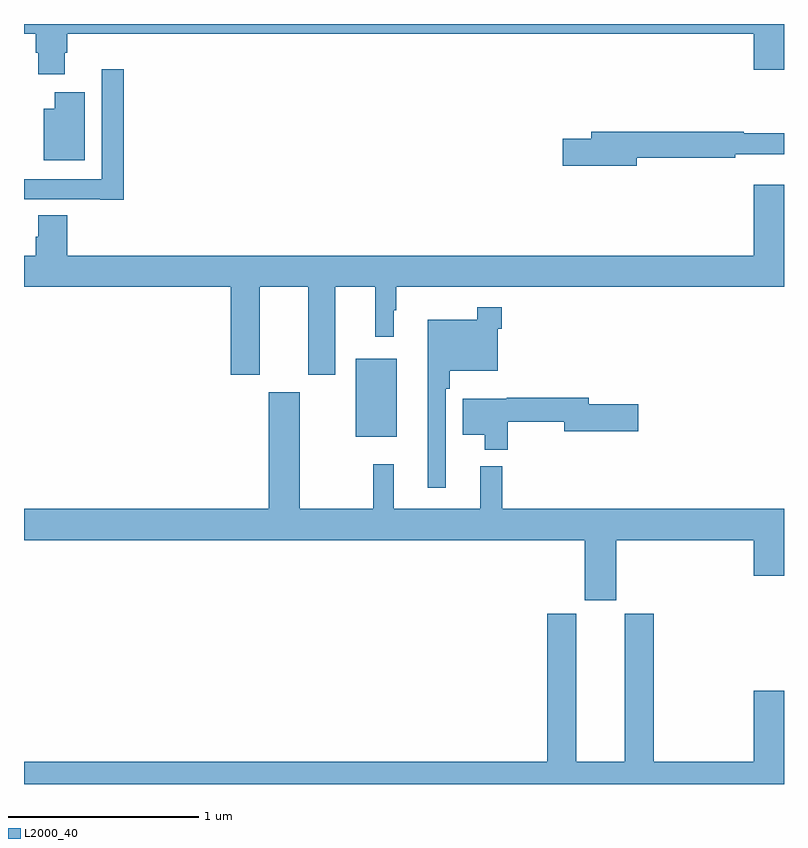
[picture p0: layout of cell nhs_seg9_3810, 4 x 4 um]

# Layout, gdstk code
import gdstk
lib = gdstk.Library(unit=1e-6, precision=1e-09)
def R(c, l, rs):  # rectangles x0, y0, x1, y1
    for r in rs: c.add(gdstk.rectangle(r[:2], r[2:], *l))
def P(c, l, *ps):  # polygons
    for p in ps: c.add(gdstk.Polygon(p, *l))
L2000_40 = (2000, 40)

nhs_seg9_3810 = lib.new_cell('nhs_seg9_3810')
R(nhs_seg9_3810, L2000_40, [(330.746,1166.327,330.961,1166.737)])
P(nhs_seg9_3810, L2000_40, [(329.215,1168.35),(329.228,1168.35),(329.228,1168.448),(332.84,1168.448),(332.84,1168.26),(333,1168.26),(333,1168.5),(329,1168.5),(329,1168.448),(329.063,1168.448),(329.063,1168.35),(329.075,1168.35),(329.075,1168.236),(329.215,1168.236)],
  [(329.525,1168.261),(329.409,1168.261),(329.409,1167.682),(329,1167.682),(329,1167.578),(329.402,1167.578),(329.402,1167.576),(329.525,1167.576)],
  [(329.32,1168.141),(329.162,1168.141),(329.162,1168.054),(329.105,1168.054),(329.105,1167.782),(329.32,1167.782)],
  [(332.224,1167.796),(332.744,1167.796),(332.744,1167.815),(333,1167.815),(333,1167.925),(332.789,1167.925),(332.789,1167.932),(331.985,1167.932),(331.985,1167.896),(331.836,1167.896),(331.836,1167.754),(332.224,1167.754)],
  [(330.241,1167.116),(330.497,1167.116),(330.497,1166.655),(330.637,1166.655),(330.637,1167.116),(330.848,1167.116),(330.848,1166.853),(330.946,1166.853),(330.946,1166.993),(330.958,1166.993),(330.958,1167.116),(333,1167.116),(333,1167.655),(332.84,1167.655),(332.84,1167.28),(329.228,1167.28),(329.228,1167.493),(329.075,1167.493),(329.075,1167.381),(329.063,1167.381),(329.063,1167.28),(329,1167.28),(329,1167.116),(330.089,1167.116),(330.089,1166.655),(330.241,1166.655)],
  [(331.221,1166.579),(331.241,1166.579),(331.241,1166.675),(331.494,1166.675),(331.494,1166.897),(331.514,1166.897),(331.514,1167.01),(331.386,1167.01),(331.386,1166.944),(331.124,1166.944),(331.124,1166.058),(331.221,1166.058)],
  [(332.116,1165.784),(332.84,1165.784),(332.84,1165.596),(333,1165.596),(333,1165.948),(331.517,1165.948),(331.517,1166.173),(331.4,1166.173),(331.4,1165.948),(330.947,1165.948),(330.947,1166.182),(330.837,1166.182),(330.837,1165.948),(330.451,1165.948),(330.451,1166.563),(330.287,1166.563),(330.287,1165.948),(329,1165.948),(329,1165.784),(331.952,1165.784),(331.952,1165.467),(332.116,1165.467)],
  [(331.546,1166.406),(331.844,1166.406),(331.844,1166.356),(332.233,1166.356),(332.233,1166.498),(331.972,1166.498),(331.972,1166.534),(331.542,1166.534),(331.542,1166.527),(331.31,1166.527),(331.31,1166.339),(331.424,1166.339),(331.424,1166.258),(331.546,1166.258)],
  [(333,1164.991),(332.84,1164.991),(332.84,1164.616),(332.315,1164.616),(332.315,1165.395),(332.162,1165.395),(332.162,1164.616),(331.906,1164.616),(331.906,1165.395),(331.754,1165.395),(331.754,1164.616),(329,1164.616),(329,1164.5),(333,1164.5)])

lib.write_gds('nhs_seg9_3810.gds')
